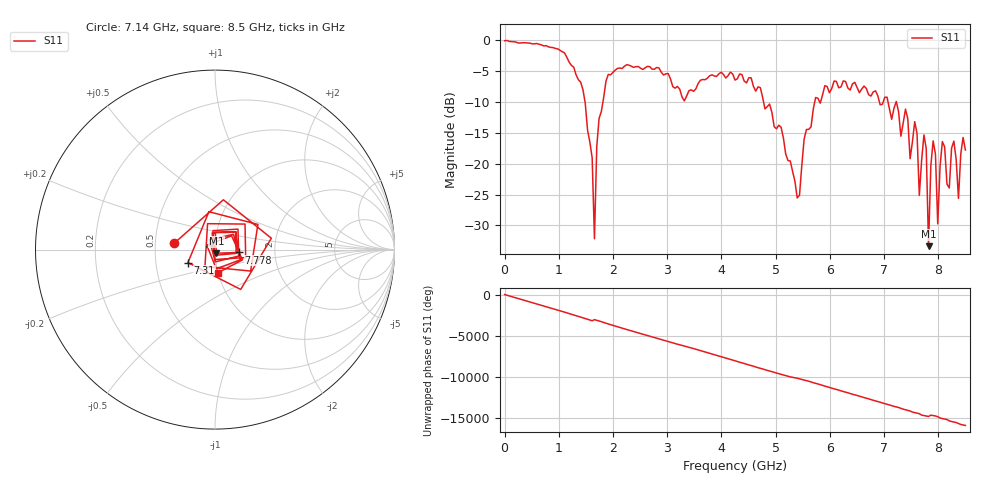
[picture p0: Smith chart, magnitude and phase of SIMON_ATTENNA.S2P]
!Agilent Technologies,E5071C,MY46101915,A.08.10
!Date: Mon Jan 01 00:39:44 2001
!Data & Calibration Information:
!Freq	S11:NONE(--)	S21:NONE(--)	S12:NONE(--)	S22:NONE(--)
# Hz S dB R 50
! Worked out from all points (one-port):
!   201 points, 100 kHz to 8.5 GHz, reference 50 ohm
!   lowest |S11| = -33.4 dB at 7.82 GHz (marker M1), VSWR 1.04, Z = 50.7 - j2.03 ohm
!   |S11| at or under -10 dB: 1.484 GHz to 1.813 GHz (329.3 MHz wide, 20 % of centre); 4.777 GHz to 5.72 GHz (943 MHz wide, 18 % of centre); 7.228 GHz to end of sweep (the widest 3 of 6)
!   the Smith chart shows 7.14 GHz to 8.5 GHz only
!   S11 on the Smith chart (normalised r, x): 7.14 GHz: 0.63, +0.05; 7.31 GHz: 0.73, -0.11; 7.778 GHz: 1.30, -0.04; 8.5 GHz: 1.00, -0.26
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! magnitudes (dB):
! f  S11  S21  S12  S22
! 100 kHz  0.0  -  -  -
! 1.445 GHz  -8.0  -  -  -
! 1.615 GHz  -19.0  -  -  -
! 1.658 GHz  -32.2  -  -  -
! 1.743 GHz  -12.7  -  -  -
! 1.913 GHz  -5.5  -  -  -
! 2.848 GHz  -4.5  -  -  -
! 4.25 GHz  -6.4  -  -  -
! 5.398 GHz  -25.5  -  -  -
! 5.695 GHz  -11.1  -  -  -
! 7.098 GHz  -11.0  -  -  -
! 7.14 GHz  -12.8  -  -  -
! 7.31 GHz  -15.5  -  -  -
! 7.565 GHz  -13.2  -  -  -
! 7.65 GHz  -25.1  -  -  -
! 7.778 GHz  -17.5  -  -  -
! 7.82 GHz  -33.4  -  -  -
! 7.905 GHz  -16.3  -  -  -
! 7.99 GHz  -29.8  -  -  -
! 8.075 GHz  -16.4  -  -  -
! 8.373 GHz  -25.6  -  -  -
! 8.5 GHz  -17.8  -  -  -
